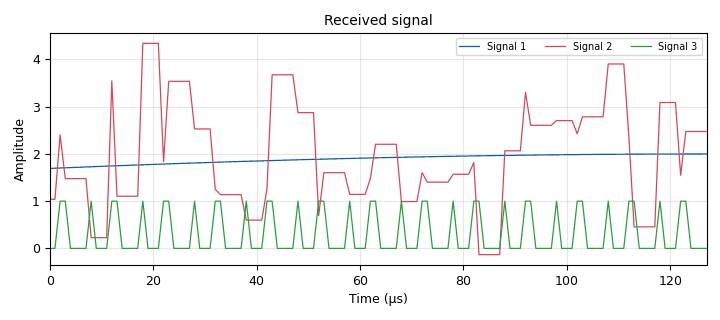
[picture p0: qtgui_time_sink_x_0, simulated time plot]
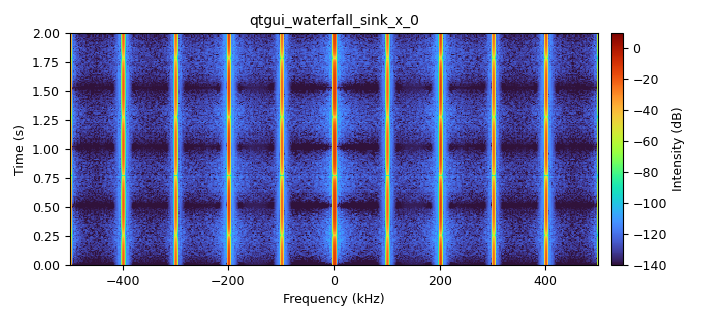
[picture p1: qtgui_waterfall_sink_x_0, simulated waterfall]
options:
  parameters:
    author: DELL
    generate_options: qt_gui
    id: untitled
    output_language: python
    title: Not titled yet
  states: {}

blocks:
- name: samp_rate
  id: variable
  parameters:
    value: '1000000'
  states: {}
- name: variable_qtgui_range_0
  id: variable_qtgui_range
  parameters:
    start: '0'
    step: '1'
    stop: '100'
    value: '50'
  states: {}
- name: analog_noise_source_x_0
  id: analog_noise_source_x
  parameters:
    amp: '1'
    noise_type: analog.GR_GAUSSIAN
    seed: '0'
    type: float
  states: {}
- name: analog_random_source_x_0
  id: analog_random_source_x
  parameters:
    max: '2'
    min: '0'
    num_samps: '5000'
    repeat: 'True'
    type: int
  states: {}
- name: analog_sig_source_x_0
  id: analog_sig_source_x
  parameters:
    amp: '1'
    freq: '1000'
    offset: '0'
    phase: '0'
    samp_rate: samp_rate
    type: float
    waveform: analog.GR_COS_WAVE
  states: {}
- name: analog_sig_source_x_1
  id: analog_sig_source_x
  parameters:
    amp: '1'
    freq: '3000'
    offset: '0'
    phase: '0'
    samp_rate: samp_rate
    type: float
    waveform: analog.GR_SQR_WAVE
  states: {}
- name: blocks_add_xx_0
  id: blocks_add_xx
  parameters:
    type: float
  states: {}
- name: blocks_add_xx_1
  id: blocks_add_xx
  parameters:
    type: float
  states: {}
- name: blocks_add_xx_2
  id: blocks_add_xx
  parameters:
    type: float
  states: {}
- name: blocks_char_to_float_0
  id: blocks_char_to_float
  parameters:
    scale: '1'
  states: {}
- name: blocks_delay_0
  id: blocks_delay
  parameters:
    delay: '0'
    type: byte
  states: {}
- name: blocks_float_to_complex_0
  id: blocks_float_to_complex
  parameters: {}
  states: {}
- name: blocks_float_to_complex_1
  id: blocks_float_to_complex
  parameters: {}
  states: {}
- name: blocks_int_to_float_0
  id: blocks_int_to_float
  parameters:
    scale: '1'
  states: {}
- name: blocks_multiply_xx_0
  id: blocks_multiply_xx
  parameters:
    type: complex
  states: {}
- name: blocks_sample_and_hold_xx_0
  id: blocks_sample_and_hold_xx
  parameters:
    type: float
  states: {}
- name: blocks_throttle2_0
  id: blocks_throttle2
  parameters:
    samples_per_second: samp_rate
    type: byte
  states: {}
- name: blocks_vco_f_0
  id: blocks_vco_f
  parameters:
    amplitude: '1'
    samp_rate: samp_rate
    sensitivity: '6.28318'
  states: {}
- name: blocks_vector_source_x_0
  id: blocks_vector_source_x
  parameters:
    repeat: 'True'
    type: byte
    vector: (1, 0, 0, 0, 1, 1, 0, 0, 0, 0)
  states: {}
- name: qtgui_time_sink_x_0
  id: qtgui_time_sink_x
  parameters:
    autoscale: 'True'
    color1: dark green
    grid: 'True'
    name: '"Received signal"'
    nconnections: '3'
    size: '128'
    srate: samp_rate
    type: float
  states: {}
- name: qtgui_waterfall_sink_x_0
  id: qtgui_waterfall_sink_x
  parameters:
    bw: samp_rate
    fc: '0'
    fftsize: '1024'
    type: complex
  states: {}

connections:
- [analog_noise_source_x_0, '0', blocks_add_xx_2, '1']
- [analog_random_source_x_0, '0', blocks_int_to_float_0, '0']
- [analog_sig_source_x_0, '0', blocks_add_xx_0, '0']
- [analog_sig_source_x_1, '0', blocks_add_xx_0, '1']
- [blocks_add_xx_0, '0', blocks_add_xx_2, '0']
- [blocks_add_xx_0, '0', qtgui_time_sink_x_0, '0']
- [blocks_add_xx_1, '0', blocks_vco_f_0, '0']
- [blocks_add_xx_2, '0', blocks_sample_and_hold_xx_0, '0']
- [blocks_char_to_float_0, '0', blocks_float_to_complex_1, '0']
- [blocks_char_to_float_0, '0', blocks_float_to_complex_1, '1']
- [blocks_char_to_float_0, '0', qtgui_time_sink_x_0, '2']
- [blocks_delay_0, '0', blocks_char_to_float_0, '0']
- [blocks_float_to_complex_0, '0', blocks_multiply_xx_0, '0']
- [blocks_float_to_complex_1, '0', blocks_multiply_xx_0, '1']
- [blocks_int_to_float_0, '0', blocks_add_xx_1, '1']
- [blocks_multiply_xx_0, '0', qtgui_waterfall_sink_x_0, '0']
- [blocks_sample_and_hold_xx_0, '0', blocks_add_xx_1, '0']
- [blocks_sample_and_hold_xx_0, '0', qtgui_time_sink_x_0, '1']
- [blocks_throttle2_0, '0', blocks_delay_0, '0']
- [blocks_throttle2_0, '0', blocks_sample_and_hold_xx_0, '1']
- [blocks_vco_f_0, '0', blocks_float_to_complex_0, '0']
- [blocks_vco_f_0, '0', blocks_float_to_complex_0, '1']
- [blocks_vector_source_x_0, '0', blocks_throttle2_0, '0']

metadata:
  file_format: 1
  grc_version: 3.10.12.0
